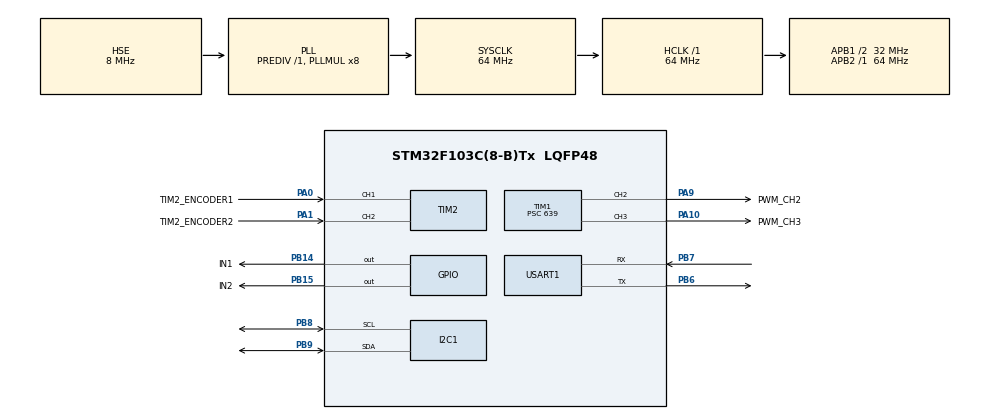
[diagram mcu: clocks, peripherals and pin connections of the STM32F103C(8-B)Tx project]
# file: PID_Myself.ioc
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Dma.Request0=USART1_RX
Dma.Request1=USART1_TX
Dma.USART1_RX.0.Direction=DMA_PERIPH_TO_MEMORY
Dma.USART1_RX.0.Instance=DMA1_Channel5
Dma.USART1_RX.0.MemDataAlignment=DMA_MDATAALIGN_BYTE
Dma.USART1_RX.0.MemInc=DMA_MINC_ENABLE
Dma.USART1_RX.0.Mode=DMA_NORMAL
Dma.USART1_RX.0.PeriphDataAlignment=DMA_PDATAALIGN_BYTE
Dma.USART1_RX.0.PeriphInc=DMA_PINC_DISABLE
Dma.USART1_RX.0.Priority=DMA_PRIORITY_LOW
Dma.USART1_TX.1.Direction=DMA_MEMORY_TO_PERIPH
Dma.USART1_TX.1.Instance=DMA1_Channel4
Dma.USART1_TX.1.MemDataAlignment=DMA_MDATAALIGN_BYTE
Dma.USART1_TX.1.MemInc=DMA_MINC_ENABLE
Dma.USART1_TX.1.Mode=DMA_NORMAL
Dma.USART1_TX.1.PeriphDataAlignment=DMA_PDATAALIGN_BYTE
Dma.USART1_TX.1.PeriphInc=DMA_PINC_DISABLE
Dma.USART1_TX.1.Priority=DMA_PRIORITY_LOW
FREERTOS.Tasks01=defaultTask,0,128,StartDefaultTask,Default,NULL,Dynamic,NULL,NULL;myTask02,0,128,StartTask02,Default,NULL,Dynamic,NULL,NULL
Mcu.Family=STM32F1
Mcu.Name=STM32F103C(8-B)Tx
Mcu.Package=LQFP48
NVIC.DMA1_Channel4_IRQn=true\:5\:0\:false\:false\:true\:true\:false\:true\:true
NVIC.DMA1_Channel5_IRQn=true\:5\:0\:false\:false\:true\:true\:false\:true\:true
NVIC.PriorityGroup=NVIC_PRIORITYGROUP_4
NVIC.TIM3_IRQn=true\:5\:0\:true\:false\:true\:true\:true\:true\:true
NVIC.TIM4_IRQn=true\:15\:0\:false\:false\:true\:false\:false\:true\:true
NVIC.TimeBase=TIM4_IRQn
NVIC.TimeBaseIP=TIM4
NVIC.USART1_IRQn=true\:5\:0\:true\:false\:true\:true\:true\:true\:true
PA0-WKUP.GPIO_Label=TIM2_ENCODER1
PA0-WKUP.Signal=S_TIM2_CH1_ETR
PA1.GPIO_Label=TIM2_ENCODER2
PA1.Signal=S_TIM2_CH2
PA10.GPIO_Label=PWM_CH3
PA10.Signal=S_TIM1_CH3
PA13.Mode=Serial_Wire
PA13.Signal=SYS_JTMS-SWDIO
PA14.Mode=Serial_Wire
PA14.Signal=SYS_JTCK-SWCLK
PA9.GPIO_Label=PWM_CH2
PA9.Signal=S_TIM1_CH2
PB14.GPIO_Label=IN1
PB14.Signal=GPIO_Output
PB15.GPIO_Label=IN2
PB15.Signal=GPIO_Output
PB6.Mode=Asynchronous
PB6.Signal=USART1_TX
PB7.GPIO_PuPd=GPIO_PULLUP
PB7.Mode=Asynchronous
PB7.Signal=USART1_RX
PB8.Mode=I2C
PB8.Signal=I2C1_SCL
PB9.Mode=I2C
PB9.Signal=I2C1_SDA
PD0-OSC_IN.Mode=HSE-External-Oscillator
PD0-OSC_IN.Signal=RCC_OSC_IN
PD1-OSC_OUT.Mode=HSE-External-Oscillator
PD1-OSC_OUT.Signal=RCC_OSC_OUT
ProjectManager.HeapSize=0x200
ProjectManager.StackSize=0x400
ProjectManager.TargetToolchain=STM32CubeIDE
RCC.AHBFreq_Value=64000000
RCC.APB1CLKDivider=RCC_HCLK_DIV2
RCC.APB1Freq_Value=32000000
RCC.APB1TimFreq_Value=64000000
RCC.APB2Freq_Value=64000000
RCC.APB2TimFreq_Value=64000000
RCC.HCLKFreq_Value=64000000
RCC.PLLMUL=RCC_PLL_MUL8
RCC.PLLSourceVirtual=RCC_PLLSOURCE_HSE
RCC.SYSCLKFreq_VALUE=64000000
RCC.SYSCLKSource=RCC_SYSCLKSOURCE_PLLCLK
RCC.USBFreq_Value=64000000
SH.S_TIM1_CH2.0=TIM1_CH2,PWM Generation2 CH2
SH.S_TIM1_CH3.0=TIM1_CH3,PWM Generation3 CH3
SH.S_TIM2_CH1_ETR.0=TIM2_CH1,Encoder_Interface
SH.S_TIM2_CH2.0=TIM2_CH2,Encoder_Interface
TIM1.Channel-PWM\ Generation2\ CH2=TIM_CHANNEL_2
TIM1.Channel-PWM\ Generation3\ CH3=TIM_CHANNEL_3
TIM1.Period=999
TIM1.Prescaler=639
TIM2.EncoderMode=TIM_ENCODERMODE_TI12
TIM3.Period=999
TIM3.Prescaler=639
USART1.VirtualMode=VM_ASYNC
VP_FREERTOS_VS_CMSIS_V1.Mode=CMSIS_V1
VP_SYS_VS_tim4.Mode=TIM4
VP_TIM3_VS_ClockSourceINT.Mode=Internal
board=custom

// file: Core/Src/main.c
/* USER CODE BEGIN Header */
/**
 ******************************************************************************
 * @file           : main.c
 * @brief          : Main program body
 ******************************************************************************
 * @attention
 *
 * Copyright (c) 2023 STMicroelectronics.
 * All rights reserved.
 *
 * This software is licensed under terms that can be found in the LICENSE file
 * in the root directory of this software component.
 * If no LICENSE file comes with this software, it is provided AS-IS.
 *
 ******************************************************************************
 */
/* USER CODE END Header */
#include "main.h"
#include "cmsis_os.h"

/* USER CODE BEGIN Includes */
#include "stringCut.h"
#include "stdbool.h"
#include "crc16.h"
#include "uart_proto.h"
#include "HanderPID.h"

/* USER CODE END Includes */

/* USER CODE BEGIN PD */
// #define Pulseee 1980.0 // 11 vong/phut * 45 (ti so truyen 1:45) *  4 (2 canh xung A va B)

// #define PULSE_PER_REVOLUTION  19800
// #define TIME_INTERVAL         0.01f    // Sampling time in seconds
/* USER CODE END PD */

I2C_HandleTypeDef hi2c1;

TIM_HandleTypeDef htim1;
TIM_HandleTypeDef htim2;
TIM_HandleTypeDef htim3;

UART_HandleTypeDef huart1;
DMA_HandleTypeDef hdma_usart1_rx;
DMA_HandleTypeDef hdma_usart1_tx;

osThreadId defaultTaskHandle;
osThreadId myTask02Handle;
/* USER CODE BEGIN PV */
// LiquidCrystal_I2C lcd1;
/* USER CODE END PV */

void SystemClock_Config(void);
static void MX_GPIO_Init(void);
static void MX_DMA_Init(void);
static void MX_I2C1_Init(void);
static void MX_TIM1_Init(void);
static void MX_TIM2_Init(void);
static void MX_TIM3_Init(void);
static void MX_USART1_UART_Init(void);
void StartDefaultTask(void const * argument);
void StartTask02(void const * argument);

/* USER CODE BEGIN PFP */
float position, output_pid, output_pid_velo, output_pid_posi;
float error_posi = 0, pre_error_posi = 0;
float error_velo = 0, pre_error_velo = 0;
float now_position, now_encoder_speed, setpoint_posi_degrees;
float number_rotation, velocity_real;
float Kp_true, Ki_true, Kd_true; // truyen tu GUI xuong
uint8_t flagAccept = 0;			 // neu bang 1 thi cho phep dong co chay
uint8_t checkModeFromQt = 0;
uint8_t count_PID = 0;
uint8_t countUpdate = 0;
bool count_PID_position_first_time = true;
uint8_t data_after_cut[PROTO_DATA_SIZE_RX];
PID_control PID_contr;
Select_PID choose_PID;
instance_encoder instance_enc;
// frame
uint16_t get_data_lenght;
uart_proto_handle_t uart_here;
uint16_t frame_tx_lenght;
uint8_t count_test = 0;
/* USER CODE END PFP */

/* USER CODE BEGIN 0 */

LPF_parameters LPF_para;

// static float now_position1 = 15.23;
// static float velocity_real1 = 21.23;
void send_data_to_Qt();

/**
 *
 */

void send_data_to_Qt()
{
	if (checkModeFromQt == 1 && flagAccept == 1)
	{
		//    sprintf(sendDataToSTM, "%f ", now_position);
		//    HAL_UART_Transmit(&huart1, (uint8_t *)sendDataToSTM, strlen(sendDataToSTM), 200);
		char float_to_char[sizeof(float)];
		char mode = 0x66;
		//	  count_test++;
		//	  if(count_test == 200)
		//	  {
		//		  now_position1 += 5;
		//		  count_test = 0;
		//	  }
		//	  memcpy(float_to_char, &now_position1, sizeof(float));  // real thi bo so 1 ra
		memcpy(float_to_char, &now_position, sizeof(float));
		uint8_t *array_data;
		array_data = (uint8_t *)malloc(5);
		uint8_t index = 0;
		memcpy(array_data + index, &mode, 1); // Mode la 0x66 , neu Qt nhan 0x66 la vi tri
		index += 1;
		memcpy(array_data + index, float_to_char, 4);
		//	  char mang[] = {0x53, 0x53, 0x22, 0x02, 0x65};
		UART_frame_data(array_data, PROTO_DATA_SIZE_TX, uart_here.au8TxBuffer, &frame_tx_lenght);
		//	  UART_frame_data((uint8_t *)mang, PROTO_DATA_SIZE_TX, uart_here.au8TxBuffer, &frame_tx_lenght);
		//	  UART_get_data(&uart_here, uart_here.au8TxBuffer, &get_data_lenght);
		HAL_UART_Transmit_DMA(&huart1, uart_here.au8TxBuffer, frame_tx_lenght);
		free(array_data);
	}
	else if (checkModeFromQt == 2 && flagAccept == 1)
	{
		//    sprintf(sendDataToSTM, "%f ", velocity_real);
		//    HAL_UART_Transmit(&huart1, (uint8_t *)sendDataToSTM, strlen(sendDataToSTM), 200);
		char float_to_char[sizeof(float)];
		char mode = 0x77;
		//	  velocity_real = 20.23;
		//	  count_test++;
		//	  	  if(count_test == 200)
		//	  	  {
		//	  		  velocity_real1 += 5;
		//	  		  count_test = 0;
		//	  	  }
		//	  memcpy(float_to_char, &velocity_real1, sizeof(float));
		memcpy(float_to_char, &velocity_real, sizeof(float));
		uint8_t *array_data;
		array_data = (uint8_t *)malloc(5);
		uint8_t index = 0;
		memcpy(array_data + index, &mode, 1); // Mode la 0x77 , neu Qt nhan 0x77 la velocity
		index += 1;
		memcpy(array_data + index, float_to_char, 4);
		UART_frame_data(array_data, PROTO_DATA_SIZE_TX, uart_here.au8TxBuffer, &frame_tx_lenght);
		HAL_UART_Transmit_DMA(&huart1, uart_here.au8TxBuffer, frame_tx_lenght);
		free(array_data);
	}
}

void HAL_UART_RxCpltCallback(UART_HandleTypeDef *huart)
{
	if (huart->Instance == USART1)
	{
		if (data_rx == PROTO_END_BYTE)
		{
			//     data_uart[uart_count++] = '\0';
			data_uart[uart_count++] = data_rx;

			uart_flag = 1; // co ky tu  la chuoi da duoc truyen xong
		}
		else
		{
			data_uart[uart_count] = data_rx;
			uart_count++;
		}
		HAL_UART_Receive_IT(&huart1, (uint8_t *)&data_rx, 1);
	}
}
/*
 tao bien so vong quay, lay so vong quay la position can dien vao GUI, sovongquay =
 */
/* USER CODE END 0 */

int main(void)
{

  /* MCU Configuration--------------------------------------------------------*/

  /* Reset of all peripherals, Initializes the Flash interface and the Systick. */
  HAL_Init();

  /* Configure the system clock */
  SystemClock_Config();

  /* Initialize all configured peripherals */
  MX_GPIO_Init();
  MX_DMA_Init();
  MX_I2C1_Init();
  MX_TIM1_Init();
  MX_TIM2_Init();
  MX_TIM3_Init();
  MX_USART1_UART_Init();
  /* USER CODE BEGIN 2 */
	HAL_TIM_Encoder_Start(&htim2, TIM_CHANNEL_ALL);
	HAL_TIM_Base_Start_IT(&htim3);
	HAL_TIM_PWM_Start(&htim1, TIM_CHANNEL_3);
	HAL_UART_Receive_IT(&huart1, (uint8_t *)&data_rx, 1);
  /* USER CODE END 2 */

  /* Create the thread(s) */
  /* definition and creation of defaultTask */
  osThreadDef(defaultTask, StartDefaultTask, osPriorityNormal, 0, 128);
  defaultTaskHandle = osThreadCreate(osThread(defaultTask), NULL);

  /* definition and creation of myTask02 */
  osThreadDef(myTask02, StartTask02, osPriorityNormal, 0, 128);
  myTask02Handle = osThreadCreate(osThread(myTask02), NULL);

  /* Start scheduler */
  osKernelStart();
  /* We should never get here as control is now taken by the scheduler */
  /* Infinite loop */
  /* USER CODE BEGIN WHILE */
	// select_mode(Select_Posi);
	while (1)
	{
		//	  a = __HAL_TIM_GET_COUNTER(&htim2);
		//	  HAL_GPIO_WritePin(IN1_GPIO_Port,IN1_Pin,GPIO_PIN_SET);
		//	  HAL_GPIO_WritePin(IN2_GPIO_Port,IN2_Pin,GPIO_PIN_RESET); chieu thuan cung chieu kim dong ho day!!!

    /* USER CODE END WHILE */

	}
}

void SystemClock_Config(void)
{
  RCC_OscInitTypeDef RCC_OscInitStruct = {0};
  RCC_ClkInitTypeDef RCC_ClkInitStruct = {0};

  /** Initializes the RCC Oscillators according to the specified parameters
  * in the RCC_OscInitTypeDef structure.
  */
  RCC_OscInitStruct.OscillatorType = RCC_OSCILLATORTYPE_HSE;
  RCC_OscInitStruct.HSEState = RCC_HSE_ON;
  RCC_OscInitStruct.HSEPredivValue = RCC_HSE_PREDIV_DIV1;
  RCC_OscInitStruct.HSIState = RCC_HSI_ON;
  RCC_OscInitStruct.PLL.PLLState = RCC_PLL_ON;
  RCC_OscInitStruct.PLL.PLLSource = RCC_PLLSOURCE_HSE;
  RCC_OscInitStruct.PLL.PLLMUL = RCC_PLL_MUL8;
  if (HAL_RCC_OscConfig(&RCC_OscInitStruct) != HAL_OK)
  {
    Error_Handler();
  }

  /** Initializes the CPU, AHB and APB buses clocks
  */
  RCC_ClkInitStruct.ClockType = RCC_CLOCKTYPE_HCLK|RCC_CLOCKTYPE_SYSCLK
                              |RCC_CLOCKTYPE_PCLK1|RCC_CLOCKTYPE_PCLK2;
  RCC_ClkInitStruct.SYSCLKSource = RCC_SYSCLKSOURCE_PLLCLK;
  RCC_ClkInitStruct.AHBCLKDivider = RCC_SYSCLK_DIV1;
  RCC_ClkInitStruct.APB1CLKDivider = RCC_HCLK_DIV2;
  RCC_ClkInitStruct.APB2CLKDivider = RCC_HCLK_DIV1;

  if (HAL_RCC_ClockConfig(&RCC_ClkInitStruct, FLASH_LATENCY_2) != HAL_OK)
  {
    Error_Handler();
  }
}

static void MX_I2C1_Init(void)
{

  hi2c1.Instance = I2C1;
  hi2c1.Init.ClockSpeed = 100000;
  hi2c1.Init.DutyCycle = I2C_DUTYCYCLE_2;
  hi2c1.Init.OwnAddress1 = 0;
  hi2c1.Init.AddressingMode = I2C_ADDRESSINGMODE_7BIT;
  hi2c1.Init.DualAddressMode = I2C_DUALADDRESS_DISABLE;
  hi2c1.Init.OwnAddress2 = 0;
  hi2c1.Init.GeneralCallMode = I2C_GENERALCALL_DISABLE;
  hi2c1.Init.NoStretchMode = I2C_NOSTRETCH_DISABLE;
  if (HAL_I2C_Init(&hi2c1) != HAL_OK)
  {
    Error_Handler();
  }

}

static void MX_TIM1_Init(void)
{

  TIM_MasterConfigTypeDef sMasterConfig = {0};
  TIM_OC_InitTypeDef sConfigOC = {0};
  TIM_BreakDeadTimeConfigTypeDef sBreakDeadTimeConfig = {0};

  htim1.Instance = TIM1;
  htim1.Init.Prescaler = 639;
  htim1.Init.CounterMode = TIM_COUNTERMODE_UP;
  htim1.Init.Period = 999;
  htim1.Init.ClockDivision = TIM_CLOCKDIVISION_DIV1;
  htim1.Init.RepetitionCounter = 0;
  htim1.Init.AutoReloadPreload = TIM_AUTORELOAD_PRELOAD_DISABLE;
  if (HAL_TIM_PWM_Init(&htim1) != HAL_OK)
  {
    Error_Handler();
  }
  sMasterConfig.MasterOutputTrigger = TIM_TRGO_RESET;
  sMasterConfig.MasterSlaveMode = TIM_MASTERSLAVEMODE_DISABLE;
  if (HAL_TIMEx_MasterConfigSynchronization(&htim1, &sMasterConfig) != HAL_OK)
  {
    Error_Handler();
  }
  sConfigOC.OCMode = TIM_OCMODE_PWM1;
  sConfigOC.Pulse = 0;
  sConfigOC.OCPolarity = TIM_OCPOLARITY_HIGH;
  sConfigOC.OCNPolarity = TIM_OCNPOLARITY_HIGH;
  sConfigOC.OCFastMode = TIM_OCFAST_DISABLE;
  sConfigOC.OCIdleState = TIM_OCIDLESTATE_RESET;
  sConfigOC.OCNIdleState = TIM_OCNIDLESTATE_RESET;
  if (HAL_TIM_PWM_ConfigChannel(&htim1, &sConfigOC, TIM_CHANNEL_2) != HAL_OK)
  {
    Error_Handler();
  }
  if (HAL_TIM_PWM_ConfigChannel(&htim1, &sConfigOC, TIM_CHANNEL_3) != HAL_OK)
  {
    Error_Handler();
  }
  sBreakDeadTimeConfig.OffStateRunMode = TIM_OSSR_DISABLE;
  sBreakDeadTimeConfig.OffStateIDLEMode = TIM_OSSI_DISABLE;
  sBreakDeadTimeConfig.LockLevel = TIM_LOCKLEVEL_OFF;
  sBreakDeadTimeConfig.DeadTime = 0;
  sBreakDeadTimeConfig.BreakState = TIM_BREAK_DISABLE;
  sBreakDeadTimeConfig.BreakPolarity = TIM_BREAKPOLARITY_HIGH;
  sBreakDeadTimeConfig.AutomaticOutput = TIM_AUTOMATICOUTPUT_DISABLE;
  if (HAL_TIMEx_ConfigBreakDeadTime(&htim1, &sBreakDeadTimeConfig) != HAL_OK)
  {
    Error_Handler();
  }
  HAL_TIM_MspPostInit(&htim1);

}

static void MX_TIM2_Init(void)
{

  TIM_Encoder_InitTypeDef sConfig = {0};
  TIM_MasterConfigTypeDef sMasterConfig = {0};

  htim2.Instance = TIM2;
  htim2.Init.Prescaler = 0;
  htim2.Init.CounterMode = TIM_COUNTERMODE_UP;
  htim2.Init.Period = 65535;
  htim2.Init.ClockDivision = TIM_CLOCKDIVISION_DIV1;
  htim2.Init.AutoReloadPreload = TIM_AUTORELOAD_PRELOAD_DISABLE;
  sConfig.EncoderMode = TIM_ENCODERMODE_TI12;
  sConfig.IC1Polarity = TIM_ICPOLARITY_RISING;
  sConfig.IC1Selection = TIM_ICSELECTION_DIRECTTI;
  sConfig.IC1Prescaler = TIM_ICPSC_DIV1;
  sConfig.IC1Filter = 0;
  sConfig.IC2Polarity = TIM_ICPOLARITY_RISING;
  sConfig.IC2Selection = TIM_ICSELECTION_DIRECTTI;
  sConfig.IC2Prescaler = TIM_ICPSC_DIV1;
  sConfig.IC2Filter = 0;
  if (HAL_TIM_Encoder_Init(&htim2, &sConfig) != HAL_OK)
  {
    Error_Handler();
  }
  sMasterConfig.MasterOutputTrigger = TIM_TRGO_RESET;
  sMasterConfig.MasterSlaveMode = TIM_MASTERSLAVEMODE_DISABLE;
  if (HAL_TIMEx_MasterConfigSynchronization(&htim2, &sMasterConfig) != HAL_OK)
  {
    Error_Handler();
  }

}

static void MX_TIM3_Init(void)
{

  TIM_ClockConfigTypeDef sClockSourceConfig = {0};
  TIM_MasterConfigTypeDef sMasterConfig = {0};

  htim3.Instance = TIM3;
  htim3.Init.Prescaler = 639;
  htim3.Init.CounterMode = TIM_COUNTERMODE_UP;
  htim3.Init.Period = 999;
  htim3.Init.ClockDivision = TIM_CLOCKDIVISION_DIV1;
  htim3.Init.AutoReloadPreload = TIM_AUTORELOAD_PRELOAD_DISABLE;
  if (HAL_TIM_Base_Init(&htim3) != HAL_OK)
  {
    Error_Handler();
  }
  sClockSourceConfig.ClockSource = TIM_CLOCKSOURCE_INTERNAL;
  if (HAL_TIM_ConfigClockSource(&htim3, &sClockSourceConfig) != HAL_OK)
  {
    Error_Handler();
  }
  sMasterConfig.MasterOutputTrigger = TIM_TRGO_RESET;
  sMasterConfig.MasterSlaveMode = TIM_MASTERSLAVEMODE_DISABLE;
  if (HAL_TIMEx_MasterConfigSynchronization(&htim3, &sMasterConfig) != HAL_OK)
  {
    Error_Handler();
  }

}

static void MX_USART1_UART_Init(void)
{

  huart1.Instance = USART1;
  huart1.Init.BaudRate = 115200;
  huart1.Init.WordLength = UART_WORDLENGTH_8B;
  huart1.Init.StopBits = UART_STOPBITS_1;
  huart1.Init.Parity = UART_PARITY_NONE;
  huart1.Init.Mode = UART_MODE_TX_RX;
  huart1.Init.HwFlowCtl = UART_HWCONTROL_NONE;
  huart1.Init.OverSampling = UART_OVERSAMPLING_16;
  if (HAL_UART_Init(&huart1) != HAL_OK)
  {
    Error_Handler();
  }

}

static void MX_DMA_Init(void)
{

  /* DMA controller clock enable */
  __HAL_RCC_DMA1_CLK_ENABLE();

  /* DMA interrupt init */
  /* DMA1_Channel4_IRQn interrupt configuration */
  HAL_NVIC_SetPriority(DMA1_Channel4_IRQn, 5, 0);
  HAL_NVIC_EnableIRQ(DMA1_Channel4_IRQn);
  /* DMA1_Channel5_IRQn interrupt configuration */
  HAL_NVIC_SetPriority(DMA1_Channel5_IRQn, 5, 0);
  HAL_NVIC_EnableIRQ(DMA1_Channel5_IRQn);

}

static void MX_GPIO_Init(void)
{
  GPIO_InitTypeDef GPIO_InitStruct = {0};

  /* GPIO Ports Clock Enable */
  __HAL_RCC_GPIOD_CLK_ENABLE();
  __HAL_RCC_GPIOA_CLK_ENABLE();
  __HAL_RCC_GPIOB_CLK_ENABLE();

  /*Configure GPIO pin Output Level */
  HAL_GPIO_WritePin(GPIOB, IN1_Pin|IN2_Pin, GPIO_PIN_RESET);

  /*Configure GPIO pins : IN1_Pin IN2_Pin */
  GPIO_InitStruct.Pin = IN1_Pin|IN2_Pin;
  GPIO_InitStruct.Mode = GPIO_MODE_OUTPUT_PP;
  GPIO_InitStruct.Pull = GPIO_NOPULL;
  GPIO_InitStruct.Speed = GPIO_SPEED_FREQ_LOW;
  HAL_GPIO_Init(GPIOB, &GPIO_InitStruct);

}

void StartDefaultTask(void const * argument)
{
	for (;;)
	{
		osDelay(1);
	}
}

void StartTask02(void const * argument)
{
  /* USER CODE BEGIN StartTask02 */
	int8_t check_true_false;
	int8_t real_data;
	/* Infinite loop */
	for (;;)
	{
		real_data = 0;
		if (uart_flag == 1)
		{
			memset(data_after_cut, 0, uart_count);
			//    memset(uart_here.au8RxBuffer, 0, PROTO_DATA_SIZE_RX+4);
			memcpy(uart_here.au8RxBuffer, (uint8_t *)data_uart, uart_count);
			check_true_false = UART_get_data(uart_here.au8RxBuffer, uart_count, data_after_cut, &get_data_lenght);
			switch (check_true_false)
			{
			case Phuc_no_valid:
				// todo:
				break;
			case Phuc_false_CRC:
				// todo:
				break;
			case Phuc_buffer_small:
				real_data = 1;
				break;
			case Phuc_false_lenght_data:
				// todo:
				break;
			default:
				// todo:
				break;
			}

			if (real_data == 1)
			{
				while (1) // neu toi duoc day thi đã nhận đúng data rồi
				{
					//   strcpy(data_after_cut, data_uart);
					switch (data_after_cut[0])
					{
					case 0x22:
						//  checkModeFromQt = string_cut_checkMode(data_after_cut);
						setpointQt = *((float *)(data_after_cut + 1));
						checkModeFromQt = 1; // position
						// htim3.Init.Period = 999;
						break;
					case 0x33:
						setpointQt = *((float *)(data_after_cut + 1));
						checkModeFromQt = 2; // velocity
						// htim3.Init.Period = 1999;
						break;
					case 0x55:
						flagAccept = 1;
						break;
					case 0x11:
						Kp_true = *((float *)(data_after_cut + 1));
						Ki_true = *((float *)(data_after_cut + 5));
						Kd_true = *((float *)(data_after_cut + 9));
						break;
					case 0x88:
						if (*((float *)(data_after_cut + 1)) == 1) // PID1
							choose_PID = Select_PID1;
						else if (*((float *)(data_after_cut + 1)) == 2) // PID2
							choose_PID = Select_PID2;
						break;
					case 0x44:
						Kp_true = Ki_true = Kd_true = 0; // nhan nut Reset
						htim2.Instance->CNT = 0;
						instance_enc.position = 0;
						instance_enc.speed_by_encoder = 0;
						setpointQt = 0;
						if (checkModeFromQt == 1)
							control_PID_Position(&PID_contr, setpointQt, Kp_true, Ki_true, Kd_true);
						else if (checkModeFromQt == 2)
							control_PID_Velocity(&PID_contr, setpointQt, Kp_true, Ki_true, Kd_true);

						output_pid = 0;
						HAL_GPIO_WritePin(IN1_GPIO_Port, IN1_Pin, GPIO_PIN_SET); // ko co cai nay dong co no chi dung lai thui chu ko co het keu :)))
						HAL_GPIO_WritePin(IN2_GPIO_Port, IN2_Pin, GPIO_PIN_SET);
						checkModeFromQt = 0; // do co ham nay = 0, nen phai set output_pid ve 0 luon do no ko nhay vo ham tinh output_pid tu Kp Ki Kd
						flagAccept = 0;
						break;
					default:
						// todo:
						break;
					}
				}
			}
			memset(data_uart, 0, uart_count);
			uart_flag = 0;
			uart_count = 0;
		}

		osDelay(1);
	}
  /* USER CODE END StartTask02 */
}

void HAL_TIM_PeriodElapsedCallback(TIM_HandleTypeDef *htim)
{
  if (htim->Instance == TIM4) {
    HAL_IncTick();
  }
  /* USER CODE BEGIN Callback 1 */
  if (htim->Instance == TIM3)
  	{
  		//		encoder(&htim2,&instance_enc);
  		encoder();
  	}
  	if (checkModeFromQt == 1 && flagAccept == 1 && choose_PID == Select_PID1)
  	{
  		tune_PID_after1(Select_Posi);
  	}

  	else if (checkModeFromQt == 2 && flagAccept == 1 && choose_PID == Select_PID1)
  	{
  		tune_PID_after1(Select_Velo);
  	}

  	else if (checkModeFromQt == 1 && flagAccept == 1 && choose_PID == Select_PID2)
  	{
  		count_PID++;
  		//    countUpdate++;
  		tune_PID_after2(Select_Posi);
  	}
  	else if (checkModeFromQt == 2 && flagAccept == 1 && choose_PID == Select_PID2)
  	{
  		// control_PID_Velocity(&PID_contr, setpointQt, Kp_true, Ki_true, Kd_true);
  		//	  control_PID_Velocity(&PID_contr, 30, 0.7, 1.9, 0.04);
  		//	countUpdate++;
  		tune_PID_after2(Select_Velo);
  	}
  	send_data_to_Qt();
  	//  	control_PID_Velocity(&PID_contr, 40, Kp_true, Kd_true, Ki_true); // toc do 30vong/phut
  	//  	select_mode(Select_Velo);
  /* USER CODE END Callback 1 */
}

void Error_Handler(void)
{
	__disable_irq();
	while (1)
	{
	}
}
